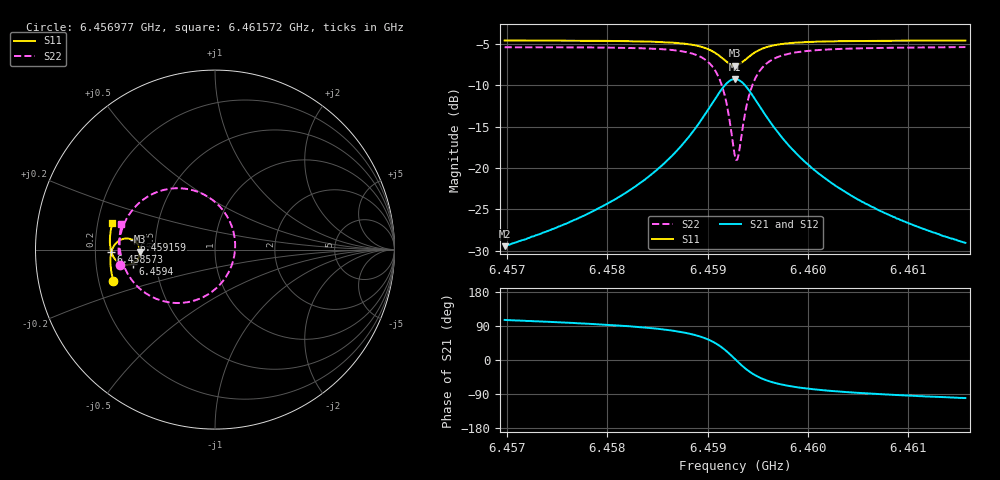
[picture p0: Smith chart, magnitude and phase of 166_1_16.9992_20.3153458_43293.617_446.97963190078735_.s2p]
#  HZ  S  RI  R  50.00
! Rohde & Schwarz Vector Network Analyzer
! Rohde-Schwarz,ZNB20-2Port,1311601062101988,3.16
! Created: UTC 3/20/2024, 10:59:27 PM
! freq[Hz]  re:S11  im:S11  re:S21  im:S21  re:S12  im:S12  re:S22  im:S22
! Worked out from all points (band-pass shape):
!   401 points, 6.456977 GHz to 6.461572 GHz, reference 50 ohm
!   highest |S21| = -9.22 dB at 6.459274 GHz (marker M1); lowest = -29.5 dB at 6.456977 GHz (marker M2)
!   |S21| within 3 dB of the highest: 6.459044 GHz to 6.459503 GHz (459.2 kHz wide, 0.00711 % of centre)
!   lowest |S11| = -7.6 dB at 6.459274 GHz (marker M3), VSWR 2.43, Z = 20.6 - j0.587 ohm
!   |S11| at or under -10 dB: nowhere
!   |S22| runs from -19.0 to -5.4 dB; largest |S21 - S12| = 0.013
!   S11 on the Smith chart (normalised r, x): 6.456977 GHz: 0.26, -0.14; 6.458573 GHz: 0.27, -0.01; 6.459159 GHz: 0.37, +0.05; 6.4594 GHz: 0.37, -0.07; 6.461572 GHz: 0.26, +0.12
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6.4569766e9  -0.5662 -0.1735  -0.00913 0.0324  -0.0073 0.0324  -0.5316 -0.0864
6.4577462e9  -0.5803 -0.1063  -0.00587 0.0505  -0.00323 0.0498  -0.5373 0.00359
6.4581827e9  -0.5833 -0.0624  0.000399 0.0706  0.00366 0.0693  -0.529 0.0731
6.4585159e9  -0.5795 -0.0224  0.014 0.099  0.018 0.0963  -0.5042 0.1488
6.4585733e9  -0.5778 -0.0144  0.0183 0.1058  0.0224 0.1028  -0.4961 0.1655
6.4587801e9  -0.5648 0.0177  0.0458 0.1383  0.0498 0.1336  -0.4447 0.2383
6.4589294e9  -0.5421 0.0441  0.091 0.1692  0.0943 0.1624  -0.3614 0.303
6.4590673e9  -0.4982 0.0618  0.1784 0.1858  0.1794 0.1785  -0.202 0.342
6.4591592e9  -0.4533 0.0515  0.2686 0.1547  0.2688 0.1486  -0.0353 0.2916
6.4592281e9  -0.4241 0.0193  0.3292 0.0826  0.3314 0.0773  0.0802 0.1622
6.459274e9  -0.4173 -0.0118  0.3456 0.0146  0.3492 0.00765  0.1122 0.0353
6.4592855e9  -0.4177 -0.0199  0.3453 -0.00312  0.3491 -0.0109  0.1118 0.00158
6.4593085e9  -0.4213 -0.0356  0.3397 -0.0379  0.3436 -0.047  0.1006 -0.0641
6.4593545e9  -0.437 -0.0617  0.3113 -0.0976  0.3134 -0.1096  0.043 -0.1769
6.4594004e9  -0.459 -0.0781  0.2691 -0.1388  0.2683 -0.1521  -0.042 -0.2514
6.4594923e9  -0.5025 -0.0849  0.1845 -0.1699  0.1784 -0.1814  -0.2102 -0.2976
6.4596416e9  -0.5463 -0.0646  0.0967 -0.1562  0.0883 -0.1625  -0.3774 -0.2486
6.4598139e9  -0.569 -0.0349  0.0496 -0.1267  0.0422 -0.1293  -0.4614 -0.1722
6.4600437e9  -0.5809 -0.00132  0.0226 -0.0971  0.0169 -0.0978  -0.506 -0.0949
6.4603883e9  -0.5857 0.0396  0.00653 -0.0705  0.00255 -0.0699  -0.5276 -0.0159
6.4608133e9  -0.5838 0.0823  -0.00127 -0.0519  -0.00411 -0.0511  -0.532 0.0521
6.4615715e9  -0.5719 0.1496  -0.00639 -0.0346  -0.00815 -0.0336  -0.521 0.1419
